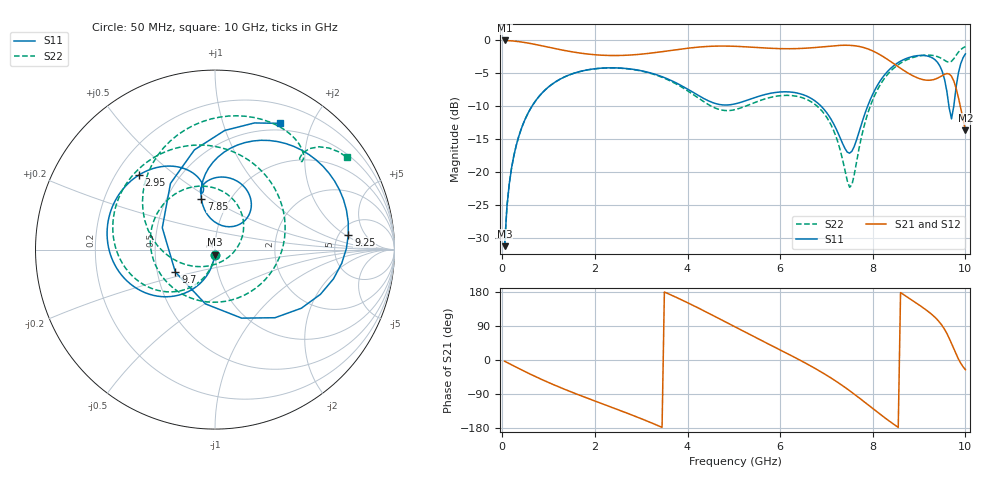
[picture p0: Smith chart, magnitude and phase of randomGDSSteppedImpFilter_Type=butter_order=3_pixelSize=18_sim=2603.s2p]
! freq	dB(S11)	phase(S11)	dB(S12)	phase(S12)
!  dB(S21)	phase(S21)	dB(S22)	phase(S22)
!S-par simulation data
#  GHz  S  DB  R 50
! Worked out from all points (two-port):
!   200 points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, 50 MHz to 10 GHz, reference 50 ohm
!   highest |S21| = -0.01 dB at 50 MHz (marker M1); lowest = -13.7 dB at 10 GHz (marker M2)
!   |S21| within 3 dB of the highest: start of sweep to 8.344 GHz
!   lowest |S11| = -31.2 dB at 50 MHz (marker M3), VSWR 1.06, Z = 49.8 - j2.73 ohm
!   |S11| at or under -10 dB: start of sweep to 640.6 MHz; 6.886 GHz to 7.889 GHz (1.003 GHz wide, 13.6 % of centre); 9.645 GHz to 9.749 GHz (103.9 MHz wide, 1.07 % of centre)
!   |S22| runs from -31.2 to -0.9 dB; largest |S21 - S12| = 0
!   S11 on the Smith chart (normalised r, x): 50 MHz: 1.00, -0.05; 2.95 GHz: 0.29, +0.38; 7.85 GHz: 0.74, +0.45; 9.25 GHz: 6.04, +2.28; 9.7 GHz: 0.62, -0.17; 10 GHz: 0.42, +1.55
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0.05  -31.23 -93.1  -0.01 -3.2  -0.01 -3.2  -31.23 -93.5
0.2  -19.37 -102.3  -0.07 -12.7  -0.07 -12.7  -19.37 -103.9
0.5  -11.86 -119.7  -0.34 -31.1  -0.34 -31.1  -11.86 -123.6
1.05  -6.78 -148.5  -1.11 -62.2  -1.11 -62.2  -6.78 -156.9
1.75  -4.60 -179.4  -1.99 -96.7  -1.99 -96.7  -4.61 165.0
2.95  -4.53 135.5  -2.12 -152.4  -2.12 -152.4  -4.58 99.3
3.4  -5.38 120.3  -1.76 -175.2  -1.76 -175.2  -5.46 69.7
4.15  -8.01 102.1  -1.08 142.3  -1.08 142.3  -8.35 4.3
5.05  -9.60 104.1  -0.90 85.8  -0.90 85.8  -10.47 -112.8
5.8  -8.02 91.3  -1.20 39.0  -1.20 39.0  -8.64 165.1
6.7  -8.94 57.3  -1.11 -18.5  -1.11 -18.5  -9.45 87.0
7.15  -12.60 44.2  -0.82 -51.5  -0.82 -51.5  -13.60 40.0
7.5  -17.12 74.2  -0.75 -81.0  -0.75 -81.0  -22.29 -55.4
7.85  -10.72 105.1  -1.18 -113.7  -1.18 -113.7  -12.05 -169.5
8.35  -4.49 77.8  -3.04 -160.6  -3.04 -160.6  -4.92 131.0
8.8  -2.56 45.3  -5.12 161.6  -5.12 161.6  -2.75 91.7
9.25  -2.53 6.4  -6.03 122.8  -6.03 122.8  -2.25 60.4
9.4  -3.35 -13.8  -5.73 105.6  -5.73 105.6  -2.47 51.6
9.55  -5.92 -48.6  -5.15 81.0  -5.15 81.0  -3.02 45.7
9.7  -11.91 -150.5  -5.44 43.6  -5.44 43.6  -3.17 47.2
9.85  -4.92 101.6  -8.70 2.5  -8.70 2.5  -1.78 44.7
10  -2.05 62.9  -13.66 -25.7  -13.66 -25.7  -0.94 35.1
